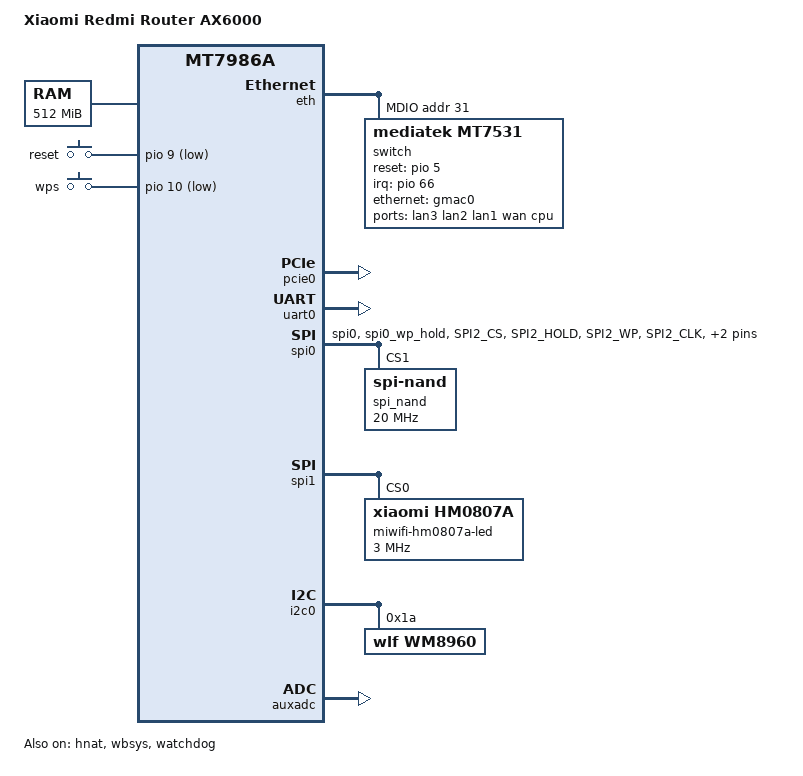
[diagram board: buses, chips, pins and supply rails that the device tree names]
// SPDX-License-Identifier: (GPL-2.0-only OR MIT)
/dts-v1/;

#include <dt-bindings/input/input.h>
#include <dt-bindings/gpio/gpio.h>

#include "mt7986a.dtsi"
#include "mt7986a-pinctrl.dtsi"

/ {
	model = "Xiaomi Redmi Router AX6000";
	compatible = "xiaomi,redmi-router-ax6000", "mediatek,mt7986a";

    aliases {
        serial0 = &uart0;
    };

	chosen {
		/*bootargs = "serial0:115200n8";*/
		bootargs-override = "console=ttyS0,115200n8 loglevel=8 ubi.mtd=ubi ubi.mtd=UBI_DEV rootfstype=squashfs";
		/*bootargs-override = "console=ttyS0,115200n8 loglevel=8 ubi.mtd=ubi ubi.mtd=UBI_DEV root=/dev/ram0 rw";*/
	};

	memory {
		reg = <0 0x40000000 0 0x20000000>;
	};

	gpio-keys {
		compatible = "gpio-keys";

		reset {
			label = "reset";
			gpios = <&pio 9 GPIO_ACTIVE_LOW>;
			linux,code = <KEY_RESTART>;
		};

		wps {
			label = "wps";
			gpios = <&pio 10 GPIO_ACTIVE_LOW>;
			linux,code = <KEY_WPS_BUTTON>;
			linux,input-type = <EV_SW>;
		};
	};

    nmbm_spim_nand {
		compatible = "generic,nmbm";

		#address-cells = <1>;
		#size-cells = <1>;

		lower-mtd-device = <&spi_nand>;
		forced-create;

        partitions {
            compatible = "fixed-partitions";
            #address-cells = <1>;
            #size-cells = <1>;

            partition@0 {
                label = "BL2";
                reg = <0x0 0x100000>;
                read-only;
            };

            partition@100000 {
                label = "Nvram";
                reg = <0x100000 0x40000>;
            };

            partition@140000 {
                label = "Bdata";
                reg = <0x140000 0x40000>;
            };

            factory: partition@0x180000 {
                label = "factory";
                reg = <0x180000 0x200000>;
                read-only;
            };

            partition@380000 {
                label = "FIP";
                reg = <0x380000 0x200000>;
            };

            partition@580000 {
                label = "crash";
                reg = <0x580000 0x40000>;
            };

            partition@5c0000 {
                label = "crash_log";
                reg = <0x5c0000 0x40000>;
            };
			/* ubi, ubi1 + overlay */
            partition@600000 {
                label = "ubi";
                reg = <0x600000 0x1e00000>;
            };

            partition@2400000 {
                label = "UBI_DEV";
                reg = <0x2400000 0x5000000>;
            };
        };
    };
};

&eth {
    status = "okay";

    gmac0: mac@0 {
        compatible = "mediatek,eth-mac";
        reg = <0>;
        phy-mode = "2500base-x";

        fixed-link {
            speed = <2500>;
            full-duplex;
            pause;
        };
    };
/*
	gmac1: mac@1 {
		compatible = "mediatek,eth-mac";
		reg = <1>;
		phy-mode = "2500base-x";

		fixed-link {
			speed = <2500>;
			full-duplex;
			pause;
		};
	};
*/
    mdio-bus {
        #address-cells = <1>;
        #size-cells = <0>;

        switch@0 {
            compatible = "mediatek,mt7531";
            reg = <31>;
            interrupt-controller;
            #interrupt-cells = <1>;
            interrupt-parent = <&pio>;
            interrupts = <66 IRQ_TYPE_LEVEL_HIGH>;
            reset-gpios = <&pio 5 GPIO_ACTIVE_HIGH>;

            ports {
                #address-cells = <1>;
                #size-cells = <0>;

                port@1 {
                    reg = <1>;
                    label = "lan3";
                };

                port@2 {
                    reg = <2>;
                    label = "lan2";
                };
                
                port@3 {
                    reg = <3>;
                    label = "lan1";
                };

                port@4 {
                    reg = <4>;
                    label = "wan";
                };

                port@6 {
                    reg = <6>;
                    label = "cpu";
                    ethernet = <&gmac0>;
                    phy-mode = "2500base-x";
                    
                    fixed-link {
                        speed = <2500>;
                        full-duplex;
                        pause;
                    };
                };
            };
        };
    };
};

&hnat {
	mtketh-wan = "wan";
	mtketh-lan = "eth0";
	mtketh-max-gmac = <1>;
	status = "okay";
};

&pio {
	spi_flash_pins: spi-flash-pins-33-to-38 {
		mux {
			function = "flash";
			groups = "spi0", "spi0_wp_hold";
		};
		conf-pu {
			pins = "SPI2_CS", "SPI2_HOLD", "SPI2_WP";
			drive-strength = <8>;
			mediatek,pull-up-adv = <0>; /* bias-disable */
		};
		conf-pd {
			pins = "SPI2_CLK", "SPI2_MOSI", "SPI2_MISO";
			drive-strength = <8>;
			mediatek,pull-down-adv = <0>; /* bias-disable */
		};
	};
/*
	wf_2g_5g_pins: wf_2g_5g-pins {
		mux {
			function = "wifi";
			groups = "wf_2g", "wf_5g";
		};
		conf {
			pins = "WF0_HB1", "WF0_HB2", "WF0_HB3", "WF0_HB4",
			       "WF0_HB0", "WF0_HB0_B", "WF0_HB5", "WF0_HB6",
			       "WF0_HB7", "WF0_HB8", "WF0_HB9", "WF0_HB10",
			       "WF0_TOP_CLK", "WF0_TOP_DATA", "WF1_HB1",
			       "WF1_HB2", "WF1_HB3", "WF1_HB4", "WF1_HB0",
			       "WF1_HB5", "WF1_HB6", "WF1_HB7", "WF1_HB8",
			       "WF1_TOP_CLK", "WF1_TOP_DATA";
			drive-strength = <MTK_DRIVE_4mA>;
		};
	};
	wf_dbdc_pins: wf_dbdc-pins {
		mux {
			function = "wifi";
			groups = "wf_dbdc";
		};
		conf {
			pins = "WF0_HB1", "WF0_HB2", "WF0_HB3", "WF0_HB4",
			       "WF0_HB0", "WF0_HB0_B", "WF0_HB5", "WF0_HB6",
			       "WF0_HB7", "WF0_HB8", "WF0_HB9", "WF0_HB10",
			       "WF0_TOP_CLK", "WF0_TOP_DATA", "WF1_HB1",
			       "WF1_HB2", "WF1_HB3", "WF1_HB4", "WF1_HB0",
			       "WF1_HB5", "WF1_HB6", "WF1_HB7", "WF1_HB8",
			       "WF1_TOP_CLK", "WF1_TOP_DATA";
			drive-strength = <MTK_DRIVE_4mA>;
		};
	};
*/
};

&pcie0 {
    pinctrl-names = "default";
    pinctrl-0 = <&pcie0_pins>;
    status = "okay";
};

&uart0 {
    status = "okay";
};

&spi0 {
	pinctrl-names = "default";
	pinctrl-0 = <&spi_flash_pins>;
	status = "okay";
	cs-gpios = <0>, <0>;
	spi_nand: spi_nand@0 {
		#address-cells = <1>;
		#size-cells = <1>;
		compatible = "spi-nand";
		reg = <1>;
		spi-max-frequency = <20000000>;
		spi-tx-buswidth = <4>;
		spi-rx-buswidth = <4>;
	};
};

&wbsys {
	status = "okay";
	mediatek,mtd-eeprom = <&factory 0x0000>;
/*
	pinctrl-names = "default", "dbdc";
	pinctrl-0 = <&wf_2g_5g_pins>;
	pinctrl-1 = <&wf_dbdc_pins>;
*/
};

&spi1 {
	pinctrl-names = "default";
    pinctrl-0 = <&spic_pins_g2>;
/*	status = "okay";*/
	miwifi-hm0807a-led@0 {
		compatible = "xiaomi,HM0807A";
		reg = <0x00>;
		spi-max-frequency = <3000000>;
		chip-num = <0x05>;
		led@0 {
			label = "led_red";
			default-state = "off";
			color = [ ff 00 00 ];
		};
		led@1 {
			label = "led_blue";
			default-state = "on";
			color = [ 00 00 ff ];
		};
		led@2 {
			label = "led_yellow";
			default-state = "off";
			color = [ ff 46 00 ];
		};
		led@3 {
			label = "led_white";
			default-state = "off";
			color = [ c0 ff c0 ];
		};
		led@4 {
			label = "led_green";
			default-state = "off";
			color = [ 00 ff 00 ];
		};
	};
};

&watchdog {
	status = "okay";
};

&i2c0 {
	pinctrl-names = "default";
	pinctrl-0 = <&i2c_pins>;
	status = "okay";

	wm8960: wm8960@1a {
		compatible = "wlf,wm8960";
		reg = <0x1a>;
	};
};

&auxadc {
	status = "okay";
};
